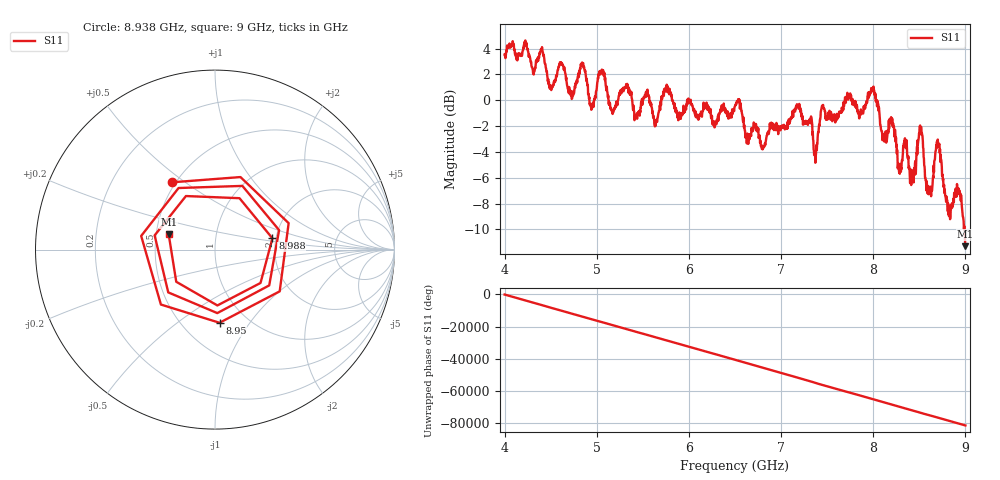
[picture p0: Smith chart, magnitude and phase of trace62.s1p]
! Created with skrf 1.8.0 (http://scikit-rf.org).
# Hz S RI R 50.0
!freq ReS11 ImS11
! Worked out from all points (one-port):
!   1601 points, 4 GHz to 9 GHz, reference 50 ohm
!   lowest |S11| = -11.3 dB at 9 GHz (marker M1), VSWR 1.75, Z = 29.1 + j5.39 ohm
!   |S11| at or under -10 dB: 8.990529 GHz to end of sweep
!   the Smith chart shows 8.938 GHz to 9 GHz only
!   S11 on the Smith chart (normalised r, x): 8.938 GHz: 0.48, +0.45; 8.95 GHz: 0.75, -0.73; 8.988 GHz: 1.92, +0.27; 9 GHz: 0.58, +0.11
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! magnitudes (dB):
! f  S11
! 4 GHz  3.5
! 4.503 GHz  0.9
! 4.625 GHz  2.8
! 4.731 GHz  0.1
! 4.85 GHz  2.8
! 4.944 GHz  -0.6
! 5.044 GHz  2.3
! 5.162 GHz  -0.7
! 5.25 GHz  0.4
! 5.875 GHz  -1.2
! 6.5 GHz  -0.4
! 6.803 GHz  -3.7
! 7.125 GHz  -0.8
! 7.372 GHz  -4.8
! 7.453 GHz  -0.4
! 7.75 GHz  0.5
! 8 GHz  1.0
! 8.106 GHz  -2.6
! 8.375 GHz  -4.5
! 8.438 GHz  -6.4
! 8.512 GHz  -2.3
! 8.603 GHz  -7.3
! 8.7 GHz  -3.0
! 8.812 GHz  -8.0
! 8.938 GHz  -7.0
! 8.95 GHz  -7.8
! 8.988 GHz  -9.7
! 9 GHz  -11.3
